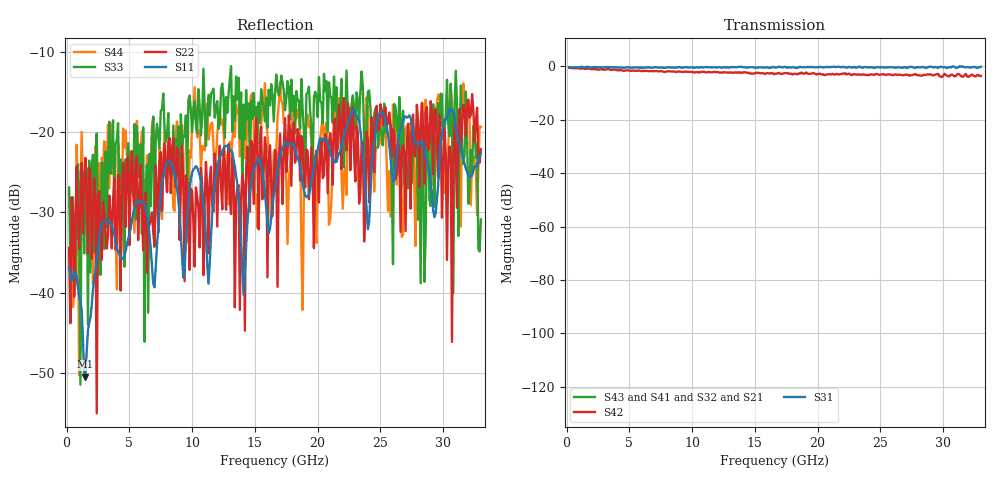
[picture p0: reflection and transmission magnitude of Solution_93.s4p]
# GHZ S RI R 50
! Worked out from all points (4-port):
!   329 points, 200 MHz to 33 GHz, reference 50 ohm
!   strongest paths, dB at 200 MHz, 8.4 GHz, 16.6 GHz, 24.8 GHz, 33 GHz:
!     S31: -0.4, -0.4, -0.4, -0.3, -0.1
!     S42: -0.5, -1.9, -2.7, -3.0, -3.6
!     S43: -, -, -, -, -
!     S41: -, -, -, -, -
!     S32: -, -, -, -, -
!     S21: -, -, -, -, -
!   lowest |S11| = -50.5 dB at 1.5 GHz (marker M1), VSWR 1.01, Z = 49.8 - j0.228 ohm
!   |S11| at or under -10 dB: start of sweep to end of sweep
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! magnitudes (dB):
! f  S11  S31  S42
! 200 MHz  -36.9  -0.4  -0.5
! 1.1 GHz  -41.0  -0.2  -0.8
! 1.5 GHz  -50.5  -0.3  -0.9
! 2.4 GHz  -36.0  -0.3  -1.1
! 2.5 GHz  -34.5  -0.3  -1.2
! 5.2 GHz  -31.0  -0.5  -1.6
! 33 GHz  -22.6  -0.1  -3.6
